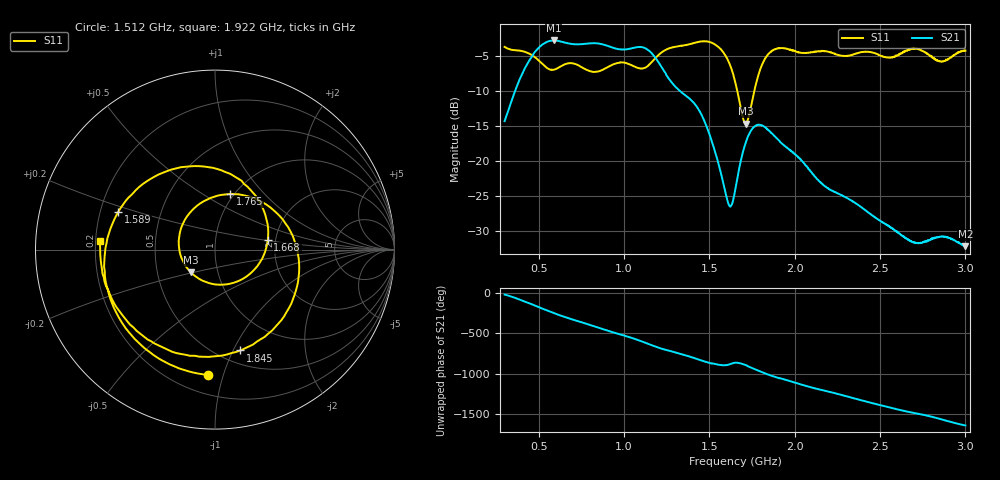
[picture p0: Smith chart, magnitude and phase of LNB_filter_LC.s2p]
# HZ S RI R 50
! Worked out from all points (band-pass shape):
!   1616 points, 300 MHz to 3 GHz, reference 50 ohm
!   highest |S21| = -2.79 dB at 587.6 MHz (marker M1); lowest = -32.2 dB at 3 GHz (marker M2)
!   |S21| within 3 dB of the highest: 441.4 MHz to 1.198 GHz (756.9 MHz wide, 92.3 % of centre)
!   lowest |S11| = -14.7 dB at 1.714 GHz (marker M3), VSWR 1.45, Z = 37.1 - j9.8 ohm
!   |S11| at or under -10 dB: 1.663 GHz to 1.763 GHz (99.91 MHz wide, 5.83 % of centre)
!   S12 and S22 are empty: the file has one direction only
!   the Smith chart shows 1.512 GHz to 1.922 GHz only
!   S11 on the Smith chart (normalised r, x): 1.512 GHz: 0.32, -0.89; 1.589 GHz: 0.28, +0.17; 1.668 GHz: 1.82, +0.21; 1.765 GHz: 0.96, +0.67; 1.845 GHz: 0.63, -1.07; 1.922 GHz: 0.22, +0.03
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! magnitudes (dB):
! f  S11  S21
! 300 MHz  -3.7  -14.3
! 442.1 MHz  -4.7  -5.8
! 587.6 MHz  -7.0  -2.8
! 751.4 MHz  -6.6  -3.3
! 1.107 GHz  -6.8  -3.8
! 1.201 GHz  -4.9  -5.9
! 1.428 GHz  -3.0  -12.3
! 1.512 GHz  -3.1  -17.0
! 1.589 GHz  -4.7  -24.0
! 1.621 GHz  -6.3  -26.5
! 1.651 GHz  -8.7  -24.2
! 1.668 GHz  -10.5  -22.0
! 1.714 GHz  -14.7  -17.3
! 1.765 GHz  -9.9  -15.1
! 1.803 GHz  -6.6  -14.9
! 1.845 GHz  -4.7  -15.6
! 1.922 GHz  -3.9  -17.5
! 2.101 GHz  -4.5  -21.7
! 2.55 GHz  -5.2  -29.3
! 2.701 GHz  -3.9  -31.7
! 2.856 GHz  -5.8  -30.8
! 3 GHz  -4.3  -32.2
